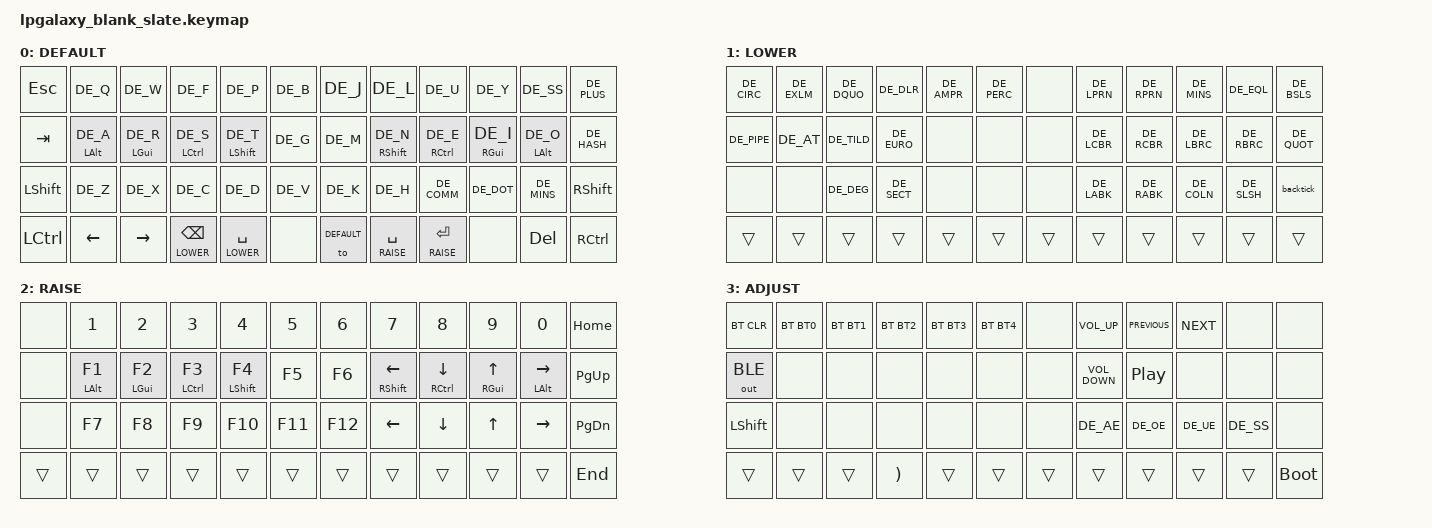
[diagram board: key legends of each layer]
/*
 * Copyright (c) 2022 Pete Johanson
 * 
 * Customizations: Christian Geuer-Pollmann
 *
 * SPDX-License-Identifier: MIT
 */

#include <behaviors.dtsi>
#include <dt-bindings/zmk/keys.h>
#include <dt-bindings/zmk/bt.h>
#include <dt-bindings/zmk/outputs.h>

#include "german-keymap.h"

#define DEFAULT 0
#define LOWER   1
#define RAISE   2
#define ADJUST  3

#define BT0 BT_SEL 0
#define BT1 BT_SEL 1
#define BT2 BT_SEL 2
#define BT3 BT_SEL 3
#define BT4 BT_SEL 4

#define LEFT_ROW_0       0  1  2  3  4  5
#define LEFT_ROW_1      12 13 14 15 16 17
#define LEFT_ROW_2      24 25 26 27 28 29
#define LEFT_ROW_3      36 37 38 39 40 41
#define RIGHT_ROW_0                        6  7  8  9 10 11
#define RIGHT_ROW_1                       18 19 20 21 22 23
#define RIGHT_ROW_2                       30 31 32 33 34 35
#define RIGHT_ROW_3                       42 43 44 45 46 47
#define LEFT_ROWS_012   LEFT_ROW_0  LEFT_ROW_1  LEFT_ROW_2
#define RIGHT_ROWS_012  RIGHT_ROW_0 RIGHT_ROW_1 RIGHT_ROW_2

// Using layer taps on thumbs, having quick tap as well helps w/ repeating space/backspace
&lt { quick_tap_ms = <200>; };

/ {
    chosen {
       zmk,matrix_transform = &ortho_transform;     // or should it be &default_transform;?
    };

    conditional_layers { // https://zmk.dev/docs/features/conditional-layers
        compatible = "zmk,conditional-layers";
        tri_layer { 
            if-layers = <LOWER RAISE>; 
            then-layer = <ADJUST>; 
        };
    };

    behaviors {
        lh_pht: homerow_left {
            compatible = "zmk,behavior-hold-tap";
            label = "POSITIONAL_HOLD_TAPL";
            hold-trigger-key-positions = <RIGHT_ROWS_012 43 44>;
            hold-trigger-on-release; // https://github.com/zmkfirmware/zmk/pull/1423
            #binding-cells = <2>; bindings = <&kp>, <&kp>;
            flavor = "balanced"; tapping-term-ms = <400>;
        };

        rh_pht: homerow_right {
            compatible = "zmk,behavior-hold-tap";
            label = "POSITIONAL_HOLD_TAPR";
            hold-trigger-key-positions = <LEFT_ROWS_012 39 40>;
            hold-trigger-on-release;
            #binding-cells = <2>; bindings = <&kp>, <&kp>;
            //flavor = "hold-preferred"; quick-tap-ms = <200>; tapping-term-ms = <400>;
            flavor = "balanced"; tapping-term-ms = <400>;
        };
    };

    macros {
        // ZMK_MACRO(thumbs_up,
        //     wait-ms = <1>;
        //     tap-ms = <5>;
        //     bindings = <&kp PLUS &kp COLON &kp PLUS &kp N1 &kp COLON &kp RET>;
        //     );
    
        backtick: backtick { // instead of &kp DE_GRV
            label = "ZM_backtick";
            compatible = "zmk,behavior-macro";
            #binding-cells = <0>;
            bindings = <&macro_press &kp LSHFT>, <&macro_tap &kp DE_ACUT>, <&macro_release &kp LSHFT>, <&macro_tap &kp SPACE>;
        };
    };

    tap_dances {
        shifty: shift_caps_word {
            compatible      = "zmk,behavior-tap-dance";
            label           = "TD_SHIFTY";
            #binding-cells  = <0>;
            tapping-term-ms = <150>;
            bindings        = <&kp LSHFT>, <&caps_word>;
        }; 
    };

    keymap {
        compatible = "zmk,keymap";

        default_layer {
            label = "DEFAULT";
            bindings = <
 &kp ESC         &kp DE_Q              &kp DE_W            &kp DE_F            &kp DE_P              &kp DE_B          &kp DE_J      &kp DE_L               &kp DE_U              &kp DE_Y          &kp DE_SS           &kp DE_PLUS
 &kp TAB         &lh_pht LALT DE_A     &lh_pht LGUI DE_R   &lh_pht LCTRL DE_S  &lh_pht LSHIFT DE_T   &kp DE_G          &kp DE_M      &rh_pht RSHIFT DE_N    &rh_pht RCTRL DE_E    &rh_pht RGUI DE_I &rh_pht LALT DE_O   &kp DE_HASH
 &kp LSHFT       &kp DE_Z              &kp DE_X            &kp DE_C            &kp DE_D              &kp DE_V          &kp DE_K      &kp DE_H               &kp DE_COMM           &kp DE_DOT        &kp DE_MINS         &kp RSHFT
 &kp LCTRL       &kp LEFT              &kp RIGHT           &lt LOWER BSPC      &lt LOWER SPACE       &none             &to DEFAULT   &lt RAISE SPACE        &lt RAISE RETURN      &none             &kp DEL             &kp RCTRL
            >;
        };

        lower_layer {
            label = "LOWER";
            bindings = <
&kp DE_CIRC      &kp DE_EXLM      &kp DE_DQUO         &kp DE_DLR          &kp DE_AMPR           &kp DE_PERC       &none       &kp DE_LPRN              &kp DE_RPRN        &kp DE_MINS       &kp DE_EQL          &kp DE_BSLS
&kp DE_PIPE      &kp DE_AT        &kp DE_TILD         &kp DE_EURO         &none                 &none             &none       &kp DE_LCBR              &kp DE_RCBR        &kp DE_LBRC       &kp DE_RBRC         &kp DE_QUOT
&none            &none            &kp DE_DEG          &kp DE_SECT         &none                 &none             &none       &kp DE_LABK              &kp DE_RABK        &kp DE_COLN       &kp DE_SLSH         &backtick
&trans           &trans           &trans              &trans              &trans                &trans            &trans      &trans                   &trans             &trans            &trans              &trans
            >;
        };

        raise_layer {
            label = "RAISE";
            bindings = <
&none            &kp N1           &kp N2              &kp N3              &kp N4                &kp N5            &kp N6      &kp N7                   &kp N8             &kp N9            &kp N0              &kp HOME
&none            &lh_pht LALT F1  &lh_pht LGUI F2     &lh_pht LCTRL F3    &lh_pht LSHIFT F4     &kp F5            &kp F6      &rh_pht RSHFT LEFT       &rh_pht RCTRL DOWN &rh_pht RGUI UP   &rh_pht LALT RIGHT  &kp PG_UP
&none            &kp F7           &kp F8              &kp F9              &kp F10               &kp F11           &kp F12     &kp LEFT                 &kp DOWN           &kp UP            &kp RIGHT           &kp PG_DN
&trans           &trans           &trans              &trans              &trans                &trans            &trans      &trans                   &trans             &trans            &trans              &kp END
            >;
        };

        adjust_layer {
            label = "ADJUST";
            bindings = <
&bt BT_CLR       &bt BT0          &bt BT1             &bt BT2             &bt BT3              &bt BT4            &none       &kp C_VOLUME_UP          &kp C_PREVIOUS     &kp C_NEXT        &none               &none
&out OUT_BLE     &none            &none               &none               &none                &none              &none       &kp C_VOLUME_DOWN        &kp C_PLAY_PAUSE   &none             &none               &none
&kp LSHIFT       &none            &none               &none               &none                &none              &none       &kp DE_AE                &kp DE_OE          &kp DE_UE         &kp DE_SS           &none
&trans           &trans           &trans              &kp RPAR            &trans               &trans             &trans      &trans                   &trans             &trans            &trans              &bootloader
            >;
        };
    };
};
